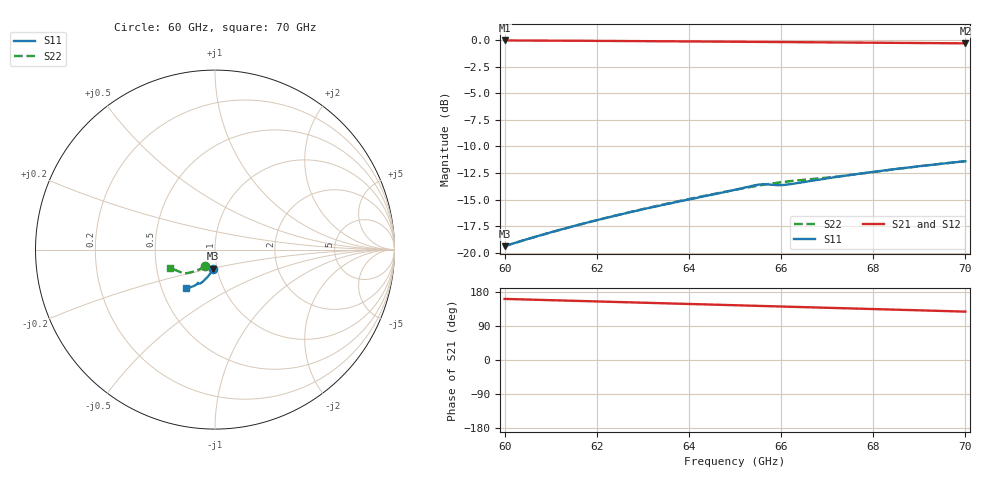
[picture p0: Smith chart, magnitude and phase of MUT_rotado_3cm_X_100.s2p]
! TOUCHSTONE file generated by CST MICROWAVE STUDIO
! Date and time: Sat Feb 17 14:30:04 2024
! Project name: MUT_rotado.cst
! Parameters = {AngX=1}
! Header version: 2018
! Port assignment regex: !\s*Touchstone port\s*([0-9]+)\s*=\s*(CST MWS port|CST DS port)\s*([0-9]+|Zmin|Zmax)\s*\(\"(.*)\"\)(\s*mode\s*([0-9]+))?.*
! Touchstone port assignment:
! Touchstone port 1 = CST MWS port 1 ("")
! Touchstone port 2 = CST MWS port 2 ("")
# GHz S MA R 376.7
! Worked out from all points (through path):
!   1001 points, 60 GHz to 70 GHz, reference 376.7 ohm
!   highest |S21| = -0.05 dB at 60 GHz (marker M1); lowest = -0.3 dB at 70 GHz (marker M2)
!   group delay of S21, straight-line fit = 9.25 ps
!   lowest |S11| = -19.4 dB at 60 GHz (marker M3), VSWR 1.24, Z = 360 - j77.8 ohm
!   |S11| at or under -10 dB: start of sweep to end of sweep
!   |S22| runs from -19.4 to -11.4 dB; largest |S21 - S12| = 0.00087
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60  0.1074 -96.1  0.9941 161.2  0.9942 161.2  0.1074 -121.4
60.05  0.1082 -96.3  0.9941 161.0  0.9941 161.0  0.1082 -121.6
60.46  0.1153 -97.6  0.9934 159.6  0.9934 159.7  0.1152 -123.1
60.88  0.1226 -99.0  0.9926 158.2  0.9925 158.2  0.1225 -124.6
61.67  0.1364 -101.4  0.9907 155.6  0.9907 155.6  0.1364 -127.4
62.48  0.1507 -104.0  0.9884 152.9  0.9885 152.8  0.1509 -130.3
63.34  0.166 -106.6  0.9858 150.0  0.9859 150.0  0.1667 -133.4
64.18  0.1813 -109.2  0.9831 147.2  0.9832 147.2  0.1822 -136.3
65  0.1975 -111.9  0.9805 144.6  0.9805 144.5  0.1975 -139.0
65.4  0.2068 -113.9  0.9793 143.2  0.9792 143.2  0.2048 -140.2
65.54  0.2093 -115.1  0.9788 142.8  0.9787 142.7  0.2072 -140.6
65.64  0.2099 -116.0  0.9785 142.4  0.9784 142.4  0.2089 -140.8
65.75  0.2091 -116.8  0.9782 142.1  0.9781 142.0  0.2107 -141.1
65.9  0.2077 -117.2  0.9777 141.6  0.9776 141.5  0.213 -141.5
66.03  0.208 -117.1  0.9773 141.2  0.9772 141.1  0.2148 -141.8
66.23  0.2104 -117.0  0.9767 140.5  0.9765 140.5  0.2174 -142.4
66.67  0.218 -117.6  0.9753 139.0  0.9752 139.0  0.2219 -143.9
67.3  0.2287 -119.2  0.9734 136.9  0.9733 136.9  0.2291 -146.8
68.34  0.2452 -122.1  0.97 133.4  0.9703 133.4  0.2448 -151.5
69.12  0.2568 -124.4  0.9672 130.7  0.9676 130.7  0.2567 -154.6
69.7  0.2651 -126.0  0.9648 128.7  0.9649 128.7  0.2651 -156.8
70  0.2692 -126.9  0.9634 127.6  0.9631 127.6  0.2692 -157.9
